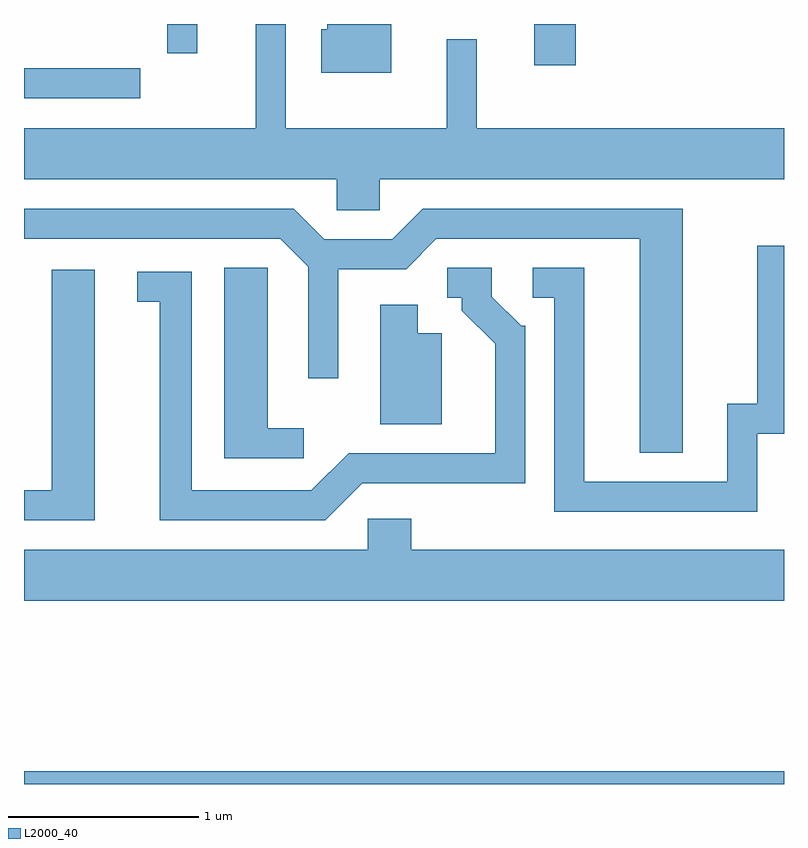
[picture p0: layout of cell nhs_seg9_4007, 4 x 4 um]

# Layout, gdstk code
import gdstk
lib = gdstk.Library(unit=1e-6, precision=1e-09)
def R(c, l, rs):  # rectangles x0, y0, x1, y1
    for r in rs: c.add(gdstk.rectangle(r[:2], r[2:], *l))
def P(c, l, *ps):  # polygons
    for p in ps: c.add(gdstk.Polygon(p, *l))
L2000_40 = (2000, 40)

nhs_seg9_4007 = lib.new_cell('nhs_seg9_4007')
R(nhs_seg9_4007, L2000_40, [(303.611,1966.432,307.611,1966.499), (303.611,1970.041,304.223,1970.199), (306.296,1970.216,306.514,1970.432)])
P(nhs_seg9_4007, L2000_40, [(305.484,1969.616),(307.611,1969.616),(307.611,1969.884),(305.994,1969.884),(305.994,1970.353),(305.836,1970.353),(305.836,1969.884),(304.989,1969.884),(304.989,1970.432),(304.831,1970.432),(304.831,1969.884),(303.611,1969.884),(303.611,1969.616),(305.256,1969.616),(305.256,1969.451),(305.484,1969.451)],
  [(304.524,1970.432),(303.756,1970.432),(303.756,1970.431),(304.366,1970.431),(304.366,1970.278),(304.524,1970.278)],
  [(305.544,1970.432),(305.206,1970.432),(305.206,1970.404),(305.176,1970.404),(305.176,1970.176),(305.544,1970.176)],
  [(307.079,1969.459),(305.709,1969.459),(305.549,1969.299),(305.192,1969.299),(305.032,1969.459),(303.611,1969.459),(303.611,1969.301),(304.959,1969.301),(305.106,1969.154),(305.106,1968.568),(305.264,1968.568),(305.264,1969.141),(305.622,1969.141),(305.782,1969.301),(306.851,1969.301),(306.851,1968.176),(307.079,1968.176)],
  [(307.469,1968.276),(307.611,1968.276),(307.611,1969.264),(307.471,1969.264),(307.471,1968.434),(307.311,1968.434),(307.311,1968.024),(306.559,1968.024),(306.559,1969.149),(306.288,1969.149),(306.288,1968.991),(306.401,1968.991),(306.401,1967.866),(307.469,1967.866)],
  [(305.392,1968.016),(306.249,1968.016),(306.249,1968.844),(306.227,1968.844),(306.074,1968.997),(306.074,1969.149),(305.838,1969.149),(305.838,1968.991),(305.916,1968.991),(305.916,1968.924),(306.091,1968.749),(306.091,1968.174),(305.319,1968.174),(305.124,1967.979),(304.494,1967.979),(304.494,1969.129),(304.208,1969.129),(304.208,1968.971),(304.326,1968.971),(304.326,1967.821),(305.197,1967.821)],
  [(305.083,1968.304),(304.894,1968.304),(304.894,1969.149),(304.666,1969.149),(304.666,1968.146),(305.083,1968.146)],
  [(303.984,1969.139),(303.756,1969.139),(303.756,1967.979),(303.611,1967.979),(303.611,1967.821),(303.984,1967.821)],
  [(305.809,1968.804),(305.684,1968.804),(305.684,1968.954),(305.486,1968.954),(305.486,1968.326),(305.809,1968.326)],
  [(307.611,1967.664),(305.649,1967.664),(305.649,1967.829),(305.421,1967.829),(305.421,1967.664),(303.611,1967.664),(303.611,1967.396),(307.611,1967.396)])

lib.write_gds('nhs_seg9_4007.gds')
